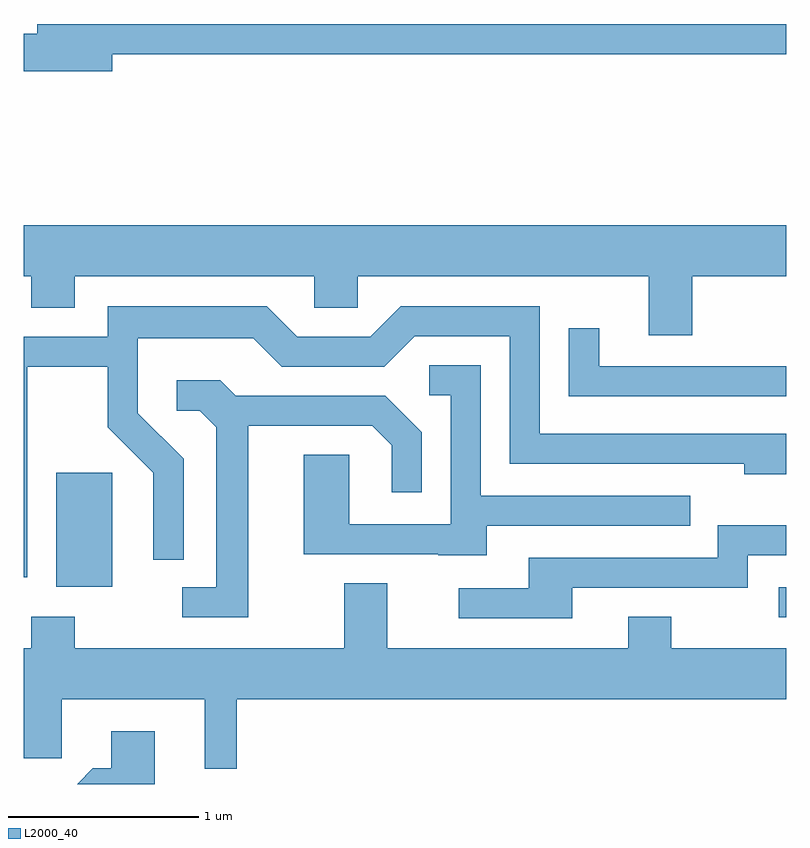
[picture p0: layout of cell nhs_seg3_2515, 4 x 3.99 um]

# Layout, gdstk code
import gdstk
lib = gdstk.Library(unit=1e-6, precision=1e-09)
def R(c, l, rs):  # rectangles x0, y0, x1, y1
    for r in rs: c.add(gdstk.rectangle(r[:2], r[2:], *l))
def P(c, l, *ps):  # polygons
    for p in ps: c.add(gdstk.Polygon(p, *l))
L2000_40 = (2000, 40)

nhs_seg3_2515 = lib.new_cell('nhs_seg3_2515')
R(nhs_seg3_2515, L2000_40, [(261.573,1250.766,261.611,1250.924), (257.781,1250.926,258.074,1251.524)])
P(nhs_seg3_2515, L2000_40, [(258.074,1253.721),(261.611,1253.721),(261.611,1253.879),(257.681,1253.879),(257.681,1253.829),(257.611,1253.829),(257.611,1253.631),(258.074,1253.631)],
  [(261.119,1252.556),(261.611,1252.556),(261.611,1252.824),(257.611,1252.824),(257.611,1252.556),(257.651,1252.556),(257.651,1252.391),(257.879,1252.391),(257.879,1252.556),(259.136,1252.556),(259.136,1252.391),(259.364,1252.391),(259.364,1252.556),(260.891,1252.556),(260.891,1252.246),(261.119,1252.246)],
  [(257.629,1252.081),(258.051,1252.081),(258.051,1251.764),(258.291,1251.524),(258.291,1251.068),(258.449,1251.068),(258.449,1251.597),(258.209,1251.837),(258.209,1252.231),(258.814,1252.231),(258.964,1252.081),(259.502,1252.081),(259.662,1252.241),(260.161,1252.241),(260.161,1251.571),(261.391,1251.571),(261.391,1251.516),(261.611,1251.516),(261.611,1251.729),(260.319,1251.729),(260.319,1252.399),(259.589,1252.399),(259.429,1252.239),(259.046,1252.239),(258.887,1252.399),(258.051,1252.399),(258.051,1252.239),(257.611,1252.239),(257.611,1250.976),(257.629,1250.976)],
  [(261.611,1252.084),(260.629,1252.084),(260.629,1252.283),(260.471,1252.283),(260.471,1251.926),(261.611,1251.926)],
  [(260.039,1251.246),(261.108,1251.246),(261.108,1251.404),(260.009,1251.404),(260.009,1252.089),(259.738,1252.089),(259.738,1251.931),(259.851,1251.931),(259.851,1251.254),(259.319,1251.254),(259.319,1251.619),(259.081,1251.619),(259.081,1251.096),(259.785,1251.096),(259.785,1251.091),(260.039,1251.091)],
  [(258.789,1251.771),(259.439,1251.771),(259.541,1251.669),(259.541,1251.423),(259.699,1251.423),(259.699,1251.737),(259.507,1251.929),(258.722,1251.929),(258.642,1252.009),(258.413,1252.009),(258.413,1251.851),(258.534,1251.851),(258.621,1251.764),(258.621,1250.924),(258.443,1250.924),(258.443,1250.766),(258.789,1250.766)],
  [(260.489,1250.921),(261.409,1250.921),(261.409,1251.091),(261.611,1251.091),(261.611,1251.249),(261.251,1251.249),(261.251,1251.079),(260.261,1251.079),(260.261,1250.919),(259.892,1250.919),(259.892,1250.761),(260.489,1250.761)],
  [(258.729,1250.336),(261.611,1250.336),(261.611,1250.604),(261.009,1250.604),(261.009,1250.769),(260.781,1250.769),(260.781,1250.604),(259.519,1250.604),(259.519,1250.944),(259.291,1250.944),(259.291,1250.604),(257.879,1250.604),(257.879,1250.769),(257.651,1250.769),(257.651,1250.604),(257.611,1250.604),(257.611,1250.026),(257.809,1250.026),(257.809,1250.336),(258.561,1250.336),(258.561,1249.973),(258.729,1249.973)],
  [(258.299,1250.169),(258.071,1250.169),(258.071,1249.974),(257.974,1249.974),(257.891,1249.892),(258.299,1249.892)])

lib.write_gds('nhs_seg3_2515.gds')
